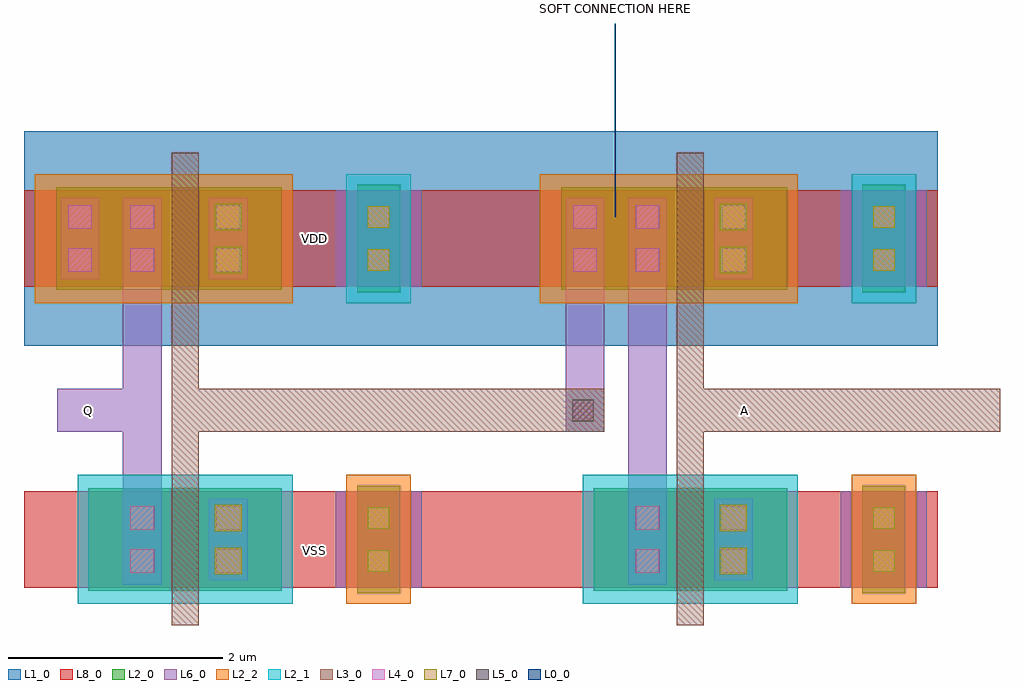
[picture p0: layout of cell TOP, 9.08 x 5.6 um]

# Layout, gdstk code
import gdstk
lib = gdstk.Library(unit=1e-6, precision=1e-09)
def R(c, l, rs):  # rectangles x0, y0, x1, y1
    for r in rs: c.add(gdstk.rectangle(r[:2], r[2:], *l))
L0_0 = (0, 0)
L1_0 = (1, 0)
L2_0 = (2, 0)
L2_1 = (2, 1)
L2_2 = (2, 2)
L3_0 = (3, 0)
L4_0 = (4, 0)
L5_0 = (5, 0)
L6_0 = (6, 0)
L7_0 = (7, 0)
L8_0 = (8, 0)

trans = lib.new_cell('TRANS')
R(trans, L2_0, [(-0.9,-0.475,0.9,0.475)])
R(trans, L4_0, [(-0.51,-0.31,-0.29,-0.09), (0.29,-0.31,0.51,-0.09), (-0.51,0.09,-0.29,0.31), (0.29,0.09,0.51,0.31)])
R(trans, L6_0, [(-0.58,-0.38,-0.22,0.38), (0.22,-0.38,0.58,0.38)])
trans.add(gdstk.FlexPath([(0,-0.8),(0,0.8)], 0.25, ends="flush", simple_path=True, layer=3, datatype=0))  # L3_0

tie = lib.new_cell('TIE')
R(tie, L1_0, [(-0.5,1.8,0.5,3.8)])
R(tie, L2_0, [(-0.2,-0.5,0.2,0.5), (-0.2,2.3,0.2,3.3)])
R(tie, L2_1, [(-0.3,2.2,0.3,3.4)])
R(tie, L2_2, [(-0.3,-0.6,0.3,0.6)])
R(tie, L4_0, [(-0.1,-0.3,0.1,-0.1), (-0.1,0.1,0.1,0.3), (-0.1,2.5,0.1,2.7), (-0.1,2.9,0.1,3.1)])
R(tie, L6_0, [(-0.4,-0.45,0.4,0.45), (-0.4,2.35,0.4,3.25)])
R(tie, L7_0, [(-0.1,-0.3,0.1,-0.1), (-0.1,0.1,0.1,0.3), (-0.1,2.5,0.1,2.7), (-0.1,2.9,0.1,3.1)])
R(tie, L8_0, [(-0.5,-0.45,0.5,0.45), (-0.5,2.35,0.5,3.25)])

inv = lib.new_cell('INV')
R(inv, L1_0, [(-1.5,1.8,1.5,3.8)])
R(inv, L2_0, [(-1.2,2.325,-0.6,3.275)])
R(inv, L2_1, [(-1,-0.6,1,0.6)])
R(inv, L2_2, [(-1.4,2.2,1,3.4)])
R(inv, L3_0, [(-0.125,-0.25,0.125,2.25)])
R(inv, L4_0, [(-1.09,2.49,-0.87,2.71), (-1.09,2.89,-0.87,3.11)])
R(inv, L6_0, [(-0.58,-0.42,-0.22,2.42), (-1.16,2.42,-0.8,3.18)])
R(inv, L7_0, [(0.275,-0.325,0.525,-0.075), (0.275,0.075,0.525,0.325), (0.275,2.475,0.525,2.725), (0.275,2.875,0.525,3.125)])
R(inv, L8_0, [(-1.5,-0.45,1.5,0.45), (-1.5,2.35,1.5,3.25)])
inv.add(gdstk.Reference(trans, (0,0)))
inv.add(gdstk.Reference(trans, (0,2.8)))
inv.add(gdstk.Reference(tie, (1.8,0)))

top = lib.new_cell('TOP')
R(top, L1_0, [(4,3.4,6.7,5.4)])
R(top, L5_0, [(6.6,2.7,6.8,2.9)])
R(top, L6_0, [(1.81,2.6,2.5,3), (6.54,2.6,6.9,4.2)])
R(top, L8_0, [(5.2,1.15,6.4,2.05), (5.2,3.95,6.4,4.85)])
top.add(gdstk.FlexPath([(6.9,2.8),(2.92,2.8)], 0.4, ends="flush", simple_path=True, layer=3, datatype=0))  # L3_0
top.add(gdstk.FlexPath([(10.58,2.8),(7.7,2.8)], 0.4, ends="flush", simple_path=True, layer=3, datatype=0))  # L3_0
top.add(gdstk.FlexPath([(7,6.4),(7,4.6)], 0.01, ends="flush", simple_path=True, layer=0, datatype=0))  # L0_0
top.add(gdstk.Reference(inv, (3,1.6)))
top.add(gdstk.Reference(inv, (7.7,1.6)))
top.add(gdstk.Label('VSS', (4.2,1.5), layer=8, texttype=1))
top.add(gdstk.Label('VDD', (4.2,4.4), layer=8, texttype=1))
top.add(gdstk.Label('A', (8.2,2.8), layer=3, texttype=1))
top.add(gdstk.Label('Q', (2.1,2.8), layer=6, texttype=1))
top.add(gdstk.Label('SOFT CONNECTION HERE', (7,6.6), layer=0, texttype=0))

lib.write_gds('TOP.gds')
